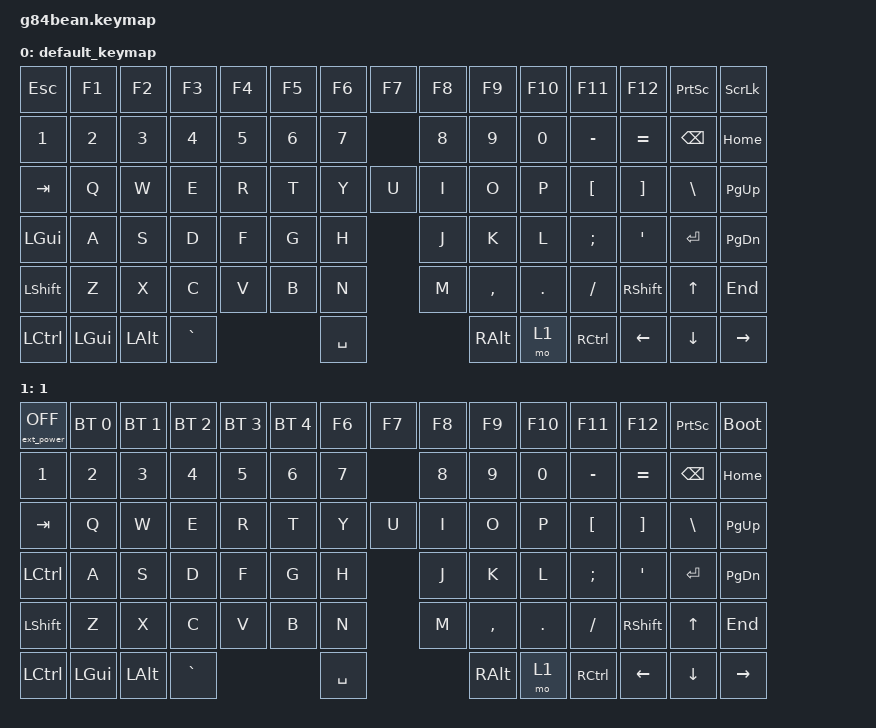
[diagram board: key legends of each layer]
#include <behaviors.dtsi>
#include <dt-bindings/zmk/keys.h>
#include <dt-bindings/zmk/bt.h>
#include <dt-bindings/zmk/ext_power.h>

/ {
    macros {
        cat_luv: cat_luv {
            label = "DISCORD_cat_luv";
            compatible = "zmk,behavior-macro";
            #binding-cells = <0>;
            wait-ms = <5>;
            bindings
                = <&macro_tap &kp COLON &kp C &kp A &kp T &kp UNDER &kp L &kp U &kp V &kp COLON>
                ;
        };
        mac_scrn: mac_scrn {
            label = "MAC_mac_scrn";
            compatible = "zmk,behavior-macro";
            #binding-cells = <0>;
            wait-ms = <5>;
            bindings
                = <&macro_press &kp LSHFT &kp LGUI>
                , <&macro_tap &kp N4>
                , <&macro_release &kp LSHFT &kp LGUI>
                ;
        };

    };

    keymap {
        compatible = "zmk,keymap";

        default_keymap {
            bindings = <
                        &kp ESC     &kp F1      &kp F2      &kp F3      &kp F4      &kp F5      &kp F6      &kp F7      &kp F8      &kp F9      &kp F10     &kp F11     &kp F12     &kp PSCRN   &kp SLCK
                        &kp N1      &kp N2      &kp N3      &kp N4      &kp N5      &kp N6      &kp N7      &kp N8      &kp N9      &kp N0      &kp MINUS   &kp EQUAL         &kp BSPC          &kp HOME
                        &kp TAB     &kp Q       &kp W       &kp E       &kp R       &kp T       &kp Y       &kp U       &kp I       &kp O       &kp P       &kp LBKT    &kp RBKT    &kp BSLH    &kp PG_UP
                        &kp LGUI   &kp A       &kp S       &kp D       &kp F       &kp G       &kp H       &kp J       &kp K       &kp L       &kp SEMI    &kp APOS           &kp ENTER        &kp PG_DN
                        &kp LSHFT   &kp Z       &kp X       &kp C       &kp V       &kp B       &kp N       &kp M       &kp COMMA   &kp DOT     &kp FSLH         &kp RSHFT             &kp UP   &kp END
                        &kp LCTRL   &kp LGUI    &kp LALT    &kp GRAVE                           &kp SPACE                           &kp RALT    &mo 1       &kp RCTRL         &kp LEFT &kp DOWN &kp RIGHT
            >;
        };
        1 {
            bindings = <
                        &ext_power EP_OFF     &bt BT_SEL 0      &bt BT_SEL 1      &bt BT_SEL 2      &bt BT_SEL 3      &bt BT_SEL 4      &kp F6      &kp F7      &kp F8      &kp F9      &kp F10     &kp F11     &kp F12     &kp PSCRN   &bootloader
                        &kp N1      &kp N2      &kp N3      &kp N4      &kp N5      &kp N6      &kp N7      &kp N8      &kp N9      &kp N0      &kp MINUS   &kp EQUAL         &kp BSPC          &kp HOME
                        &kp TAB     &kp Q       &kp W       &kp E       &kp R       &kp T       &kp Y       &kp U       &kp I       &kp O       &kp P       &kp LBKT    &kp RBKT    &kp BSLH    &kp PG_UP
                        &kp LCTRL   &kp A       &kp S       &kp D       &kp F       &kp G       &kp H       &kp J       &kp K       &kp L       &kp SEMI    &kp APOS           &kp ENTER        &kp PG_DN
                        &kp LSHFT   &kp Z       &kp X       &kp C       &kp V       &kp B       &kp N       &kp M       &kp COMMA   &kp DOT     &kp FSLH         &kp RSHFT             &kp UP   &kp END
                        &kp LCTRL   &kp LGUI    &kp LALT    &kp GRAVE                           &kp SPACE                           &kp RALT    &mo 1       &kp RCTRL         &kp LEFT &kp DOWN &kp RIGHT
            >;
        };
    };
};
